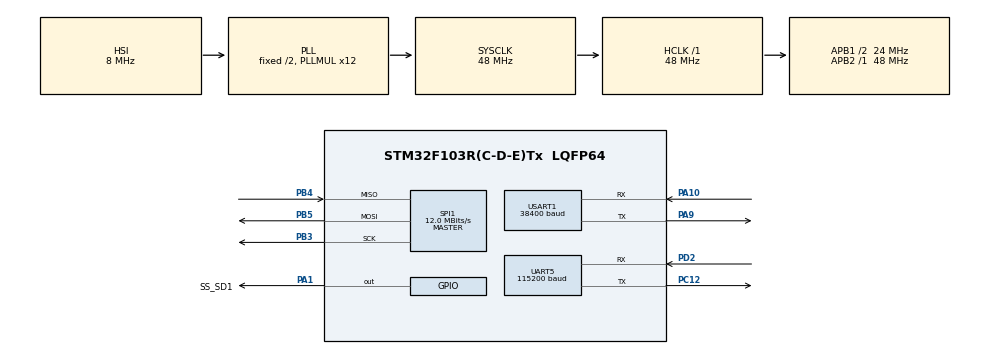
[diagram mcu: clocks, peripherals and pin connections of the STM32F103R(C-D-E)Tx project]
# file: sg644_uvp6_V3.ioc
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Dma.Request0=SPI1_RX
Dma.Request1=SPI1_TX
Dma.SPI1_RX.0.Direction=DMA_PERIPH_TO_MEMORY
Dma.SPI1_RX.0.Instance=DMA1_Channel2
Dma.SPI1_RX.0.MemDataAlignment=DMA_MDATAALIGN_BYTE
Dma.SPI1_RX.0.MemInc=DMA_MINC_ENABLE
Dma.SPI1_RX.0.Mode=DMA_NORMAL
Dma.SPI1_RX.0.PeriphDataAlignment=DMA_PDATAALIGN_BYTE
Dma.SPI1_RX.0.PeriphInc=DMA_PINC_DISABLE
Dma.SPI1_RX.0.Priority=DMA_PRIORITY_MEDIUM
Dma.SPI1_TX.1.Direction=DMA_MEMORY_TO_PERIPH
Dma.SPI1_TX.1.Instance=DMA1_Channel3
Dma.SPI1_TX.1.MemDataAlignment=DMA_MDATAALIGN_BYTE
Dma.SPI1_TX.1.MemInc=DMA_MINC_ENABLE
Dma.SPI1_TX.1.Mode=DMA_NORMAL
Dma.SPI1_TX.1.PeriphDataAlignment=DMA_PDATAALIGN_BYTE
Dma.SPI1_TX.1.PeriphInc=DMA_PINC_DISABLE
Dma.SPI1_TX.1.Priority=DMA_PRIORITY_MEDIUM
FREERTOS.BinarySemaphores01=seaglider_uart_q_sem,Dynamic,NULL;uvp6_uart_q_sem,Dynamic,NULL;seaglider_uart_media_sem,Dynamic,NULL;uvp6_uart_media_sem,Dynamic,NULL;microSD_sem,Dynamic,NULL
FREERTOS.Queues01=worker_cmd_q,16,uint32_t,0,Dynamic,NULL,NULL;events_q,16,uint32_t,0,Dynamic,NULL,NULL
FREERTOS.Tasks01=defaultTask,0,1024,StartDefaultTask,Default,NULL,Dynamic,NULL,NULL;glider_uart_tx_,0,256,glider_uart_tx_f,Default,NULL,Dynamic,NULL,NULL;worker1_t,0,768,worker_f,Default,NULL,Dynamic,NULL,NULL;worker2_t,0,768,worker_f,Default,NULL,Dynamic,NULL,NULL;worker3_t,0,768,worker_f,Default,NULL,Dynamic,NULL,NULL;worker4_t,0,768,worker_f,Default,NULL,Dynamic,NULL,NULL;sensor_uart_tx_,0,256,sensor_uart_tx_f,Default,NULL,Dynamic,NULL,NULL;worker5_t,0,768,worker_f,Default,NULL,Dynamic,NULL,NULL;worker6_t,0,768,worker_f,Default,NULL,Dynamic,NULL,NULL
FREERTOS.configTOTAL_HEAP_SIZE=40000
FREERTOS.configUSE_NEWLIB_REENTRANT=1
FREERTOS.configUSE_TIMERS=1
Mcu.Family=STM32F1
Mcu.Name=STM32F103R(C-D-E)Tx
Mcu.Package=LQFP64
NVIC.DMA1_Channel2_IRQn=true\:5\:0\:false\:false\:true\:true\:false\:true\:true
NVIC.DMA1_Channel3_IRQn=true\:5\:0\:false\:false\:true\:true\:false\:true\:true
NVIC.PriorityGroup=NVIC_PRIORITYGROUP_4
NVIC.SPI1_IRQn=true\:5\:0\:false\:false\:true\:true\:true\:true\:true
NVIC.TIM1_UP_IRQn=true\:15\:0\:false\:false\:true\:false\:false\:true\:true
NVIC.TimeBase=TIM1_UP_IRQn
NVIC.TimeBaseIP=TIM1
NVIC.UART5_IRQn=true\:5\:0\:false\:false\:true\:true\:true\:true\:true
NVIC.USART1_IRQn=true\:5\:0\:false\:false\:true\:true\:true\:true\:true
PA1.GPIO_Label=SS_SD1
PA1.GPIO_Speed=GPIO_SPEED_FREQ_HIGH
PA1.PinState=GPIO_PIN_SET
PA1.Signal=GPIO_Output
PA10.Mode=Asynchronous
PA10.Signal=USART1_RX
PA13.Mode=Serial_Wire
PA13.Signal=SYS_JTMS-SWDIO
PA14.Mode=Serial_Wire
PA14.Signal=SYS_JTCK-SWCLK
PA9.Mode=Asynchronous
PA9.Signal=USART1_TX
PB3.Mode=Full_Duplex_Master
PB3.Signal=SPI1_SCK
PB4.Mode=Full_Duplex_Master
PB4.Signal=SPI1_MISO
PB5.Mode=Full_Duplex_Master
PB5.Signal=SPI1_MOSI
PC12.Mode=Asynchronous
PC12.Signal=UART5_TX
PD0-OSC_IN.Mode=HSE-External-Oscillator
PD0-OSC_IN.Signal=RCC_OSC_IN
PD1-OSC_OUT.Mode=HSE-External-Oscillator
PD1-OSC_OUT.Signal=RCC_OSC_OUT
PD2.Mode=Asynchronous
PD2.Signal=UART5_RX
ProjectManager.HeapSize=0x200
ProjectManager.StackSize=0x400
ProjectManager.TargetToolchain=STM32CubeIDE
RCC.AHBFreq_Value=48000000
RCC.APB1CLKDivider=RCC_HCLK_DIV2
RCC.APB1Freq_Value=24000000
RCC.APB1TimFreq_Value=48000000
RCC.APB2Freq_Value=48000000
RCC.APB2TimFreq_Value=48000000
RCC.HCLKFreq_Value=48000000
RCC.HSE_VALUE=10000000
RCC.PLLMUL=RCC_PLL_MUL12
RCC.SYSCLKFreq_VALUE=48000000
RCC.SYSCLKSource=RCC_SYSCLKSOURCE_PLLCLK
RCC.USBFreq_Value=48000000
SPI1.BaudRatePrescaler=SPI_BAUDRATEPRESCALER_4
SPI1.CalculateBaudRate=12.0 MBits/s
SPI1.Direction=SPI_DIRECTION_2LINES
SPI1.Mode=SPI_MODE_MASTER
SPI1.VirtualType=VM_MASTER
UART5.BaudRate=115200
UART5.VirtualMode=Asynchronous
USART1.BaudRate=38400
USART1.VirtualMode=VM_ASYNC
VP_FREERTOS_VS_CMSIS_V1.Mode=CMSIS_V1
VP_SYS_VS_tim1.Mode=TIM1
board=custom

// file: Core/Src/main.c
/* USER CODE BEGIN Header */
/**
  ******************************************************************************
  * @file           : main.c
  * @brief          : Main program body
  ******************************************************************************
  * @attention
  *
  * <h2><center>&copy; Copyright (c) 2022 STMicroelectronics.
  * All rights reserved.</center></h2>
  *
  * This software component is licensed by ST under Ultimate Liberty license
  * SLA0044, the "License"; You may not use this file except in compliance with
  * the License. You may obtain a copy of the License at:
  *                             www.st.com/SLA0044
  *
  ******************************************************************************
  */
/* USER CODE END Header */
#include "main.h"
#include "cmsis_os.h"

/* USER CODE BEGIN Includes */
#include "seaglider.h"
#include "UVP6.h"
#include "string.h"
#include "em_sd_storage.h"
#include "stdio.h"
#include "settings.h"
#include "disp_proc.h"
/* USER CODE END Includes */

/* USER CODE BEGIN PD */

#define  SENSOR_UART               huart1
#define  GLIDER_UART               huart5

#define TX_BUFF_SIZE             150

//#define DEBUG_MSG

/* USER CODE END PD */

SPI_HandleTypeDef hspi1;
DMA_HandleTypeDef hdma_spi1_rx;
DMA_HandleTypeDef hdma_spi1_tx;

UART_HandleTypeDef huart5;
UART_HandleTypeDef huart1;

osThreadId defaultTaskHandle;
osThreadId glider_uart_tx_Handle;
osThreadId worker1_tHandle;
osThreadId worker2_tHandle;
osThreadId worker3_tHandle;
osThreadId worker4_tHandle;
osThreadId sensor_uart_tx_Handle;
osThreadId worker5_tHandle;
osThreadId worker6_tHandle;
osMessageQId worker_cmd_qHandle;
osMessageQId events_qHandle;
osSemaphoreId seaglider_uart_q_semHandle;
osSemaphoreId uvp6_uart_q_semHandle;
osSemaphoreId seaglider_uart_media_semHandle;
osSemaphoreId uvp6_uart_media_semHandle;
osSemaphoreId microSD_semHandle;
/* USER CODE BEGIN PV */

seaglider glider1;
uvp6 uvp6_sensor1;
sd_storage_t microsd_storage;
extern settings_str run_cfg;
proc_dispatcher dispatcher1;

uint32_t tick1,tick2;

/* USER CODE END PV */

void SystemClock_Config(void);
static void MX_GPIO_Init(void);
static void MX_DMA_Init(void);
static void MX_SPI1_Init(void);
static void MX_UART5_Init(void);
static void MX_USART1_UART_Init(void);
void StartDefaultTask(void const * argument);
void glider_uart_tx_f(void const * argument);
void worker_f(void const * argument);
void sensor_uart_tx_f(void const * argument);

int main(void)
{

  /* MCU Configuration--------------------------------------------------------*/

  /* Reset of all peripherals, Initializes the Flash interface and the Systick. */
  HAL_Init();

  /* Configure the system clock */
  SystemClock_Config();

  /* Initialize all configured peripherals */
  MX_GPIO_Init();
  MX_DMA_Init();
  MX_SPI1_Init();
  MX_UART5_Init();
  MX_USART1_UART_Init();

  /* Create the semaphores(s) */
  /* definition and creation of seaglider_uart_q_sem */
  osSemaphoreDef(seaglider_uart_q_sem);
  seaglider_uart_q_semHandle = osSemaphoreCreate(osSemaphore(seaglider_uart_q_sem), 1);

  /* definition and creation of uvp6_uart_q_sem */
  osSemaphoreDef(uvp6_uart_q_sem);
  uvp6_uart_q_semHandle = osSemaphoreCreate(osSemaphore(uvp6_uart_q_sem), 1);

  /* definition and creation of seaglider_uart_media_sem */
  osSemaphoreDef(seaglider_uart_media_sem);
  seaglider_uart_media_semHandle = osSemaphoreCreate(osSemaphore(seaglider_uart_media_sem), 1);

  /* definition and creation of uvp6_uart_media_sem */
  osSemaphoreDef(uvp6_uart_media_sem);
  uvp6_uart_media_semHandle = osSemaphoreCreate(osSemaphore(uvp6_uart_media_sem), 1);

  /* definition and creation of microSD_sem */
  osSemaphoreDef(microSD_sem);
  microSD_semHandle = osSemaphoreCreate(osSemaphore(microSD_sem), 1);

  /* Create the queue(s) */
  /* definition and creation of worker_cmd_q */
  osMessageQDef(worker_cmd_q, 16, uint32_t);
  worker_cmd_qHandle = osMessageCreate(osMessageQ(worker_cmd_q), NULL);

  /* definition and creation of events_q */
  osMessageQDef(events_q, 16, uint32_t);
  events_qHandle = osMessageCreate(osMessageQ(events_q), NULL);

  /* Create the thread(s) */
  /* definition and creation of defaultTask */
  osThreadDef(defaultTask, StartDefaultTask, osPriorityNormal, 0, 1024);
  defaultTaskHandle = osThreadCreate(osThread(defaultTask), NULL);

  /* definition and creation of glider_uart_tx_ */
  osThreadDef(glider_uart_tx_, glider_uart_tx_f, osPriorityNormal, 0, 256);
  glider_uart_tx_Handle = osThreadCreate(osThread(glider_uart_tx_), NULL);

  /* definition and creation of worker1_t */
  osThreadDef(worker1_t, worker_f, osPriorityNormal, 0, 768);
  worker1_tHandle = osThreadCreate(osThread(worker1_t), NULL);

  /* definition and creation of worker2_t */
  osThreadDef(worker2_t, worker_f, osPriorityNormal, 0, 768);
  worker2_tHandle = osThreadCreate(osThread(worker2_t), NULL);

  /* definition and creation of worker3_t */
  osThreadDef(worker3_t, worker_f, osPriorityNormal, 0, 768);
  worker3_tHandle = osThreadCreate(osThread(worker3_t), NULL);

  /* definition and creation of worker4_t */
  osThreadDef(worker4_t, worker_f, osPriorityNormal, 0, 768);
  worker4_tHandle = osThreadCreate(osThread(worker4_t), NULL);

  /* definition and creation of sensor_uart_tx_ */
  osThreadDef(sensor_uart_tx_, sensor_uart_tx_f, osPriorityNormal, 0, 256);
  sensor_uart_tx_Handle = osThreadCreate(osThread(sensor_uart_tx_), NULL);

  /* definition and creation of worker5_t */
  osThreadDef(worker5_t, worker_f, osPriorityNormal, 0, 768);
  worker5_tHandle = osThreadCreate(osThread(worker5_t), NULL);

  /* definition and creation of worker6_t */
  osThreadDef(worker6_t, worker_f, osPriorityNormal, 0, 768);
  worker6_tHandle = osThreadCreate(osThread(worker6_t), NULL);

  /* Start scheduler */
  osKernelStart();
  /* We should never get here as control is now taken by the scheduler */
  /* Infinite loop */
  while (1)
  {

  }
}

void SystemClock_Config(void)
{
  RCC_OscInitTypeDef RCC_OscInitStruct = {0};
  RCC_ClkInitTypeDef RCC_ClkInitStruct = {0};

  /** Initializes the RCC Oscillators according to the specified parameters
  * in the RCC_OscInitTypeDef structure.
  */
  RCC_OscInitStruct.OscillatorType = RCC_OSCILLATORTYPE_HSI;
  RCC_OscInitStruct.HSIState = RCC_HSI_ON;
  RCC_OscInitStruct.HSICalibrationValue = RCC_HSICALIBRATION_DEFAULT;
  RCC_OscInitStruct.PLL.PLLState = RCC_PLL_ON;
  RCC_OscInitStruct.PLL.PLLSource = RCC_PLLSOURCE_HSI_DIV2;
  RCC_OscInitStruct.PLL.PLLMUL = RCC_PLL_MUL12;
  if (HAL_RCC_OscConfig(&RCC_OscInitStruct) != HAL_OK)
  {
    Error_Handler();
  }

  /** Initializes the CPU, AHB and APB buses clocks
  */
  RCC_ClkInitStruct.ClockType = RCC_CLOCKTYPE_HCLK|RCC_CLOCKTYPE_SYSCLK
                              |RCC_CLOCKTYPE_PCLK1|RCC_CLOCKTYPE_PCLK2;
  RCC_ClkInitStruct.SYSCLKSource = RCC_SYSCLKSOURCE_PLLCLK;
  RCC_ClkInitStruct.AHBCLKDivider = RCC_SYSCLK_DIV1;
  RCC_ClkInitStruct.APB1CLKDivider = RCC_HCLK_DIV2;
  RCC_ClkInitStruct.APB2CLKDivider = RCC_HCLK_DIV1;

  if (HAL_RCC_ClockConfig(&RCC_ClkInitStruct, FLASH_LATENCY_1) != HAL_OK)
  {
    Error_Handler();
  }
}

static void MX_SPI1_Init(void)
{

  /* SPI1 parameter configuration*/
  hspi1.Instance = SPI1;
  hspi1.Init.Mode = SPI_MODE_MASTER;
  hspi1.Init.Direction = SPI_DIRECTION_2LINES;
  hspi1.Init.DataSize = SPI_DATASIZE_8BIT;
  hspi1.Init.CLKPolarity = SPI_POLARITY_LOW;
  hspi1.Init.CLKPhase = SPI_PHASE_1EDGE;
  hspi1.Init.NSS = SPI_NSS_SOFT;
  hspi1.Init.BaudRatePrescaler = SPI_BAUDRATEPRESCALER_4;
  hspi1.Init.FirstBit = SPI_FIRSTBIT_MSB;
  hspi1.Init.TIMode = SPI_TIMODE_DISABLE;
  hspi1.Init.CRCCalculation = SPI_CRCCALCULATION_DISABLE;
  hspi1.Init.CRCPolynomial = 10;
  if (HAL_SPI_Init(&hspi1) != HAL_OK)
  {
    Error_Handler();
  }

}

static void MX_UART5_Init(void)
{

  huart5.Instance = UART5;
  huart5.Init.BaudRate = 115200;
  huart5.Init.WordLength = UART_WORDLENGTH_8B;
  huart5.Init.StopBits = UART_STOPBITS_1;
  huart5.Init.Parity = UART_PARITY_NONE;
  huart5.Init.Mode = UART_MODE_TX_RX;
  huart5.Init.HwFlowCtl = UART_HWCONTROL_NONE;
  huart5.Init.OverSampling = UART_OVERSAMPLING_16;
  if (HAL_UART_Init(&huart5) != HAL_OK)
  {
    Error_Handler();
  }

}

static void MX_USART1_UART_Init(void)
{

  huart1.Instance = USART1;
  huart1.Init.BaudRate = 38400;
  huart1.Init.WordLength = UART_WORDLENGTH_8B;
  huart1.Init.StopBits = UART_STOPBITS_1;
  huart1.Init.Parity = UART_PARITY_NONE;
  huart1.Init.Mode = UART_MODE_TX_RX;
  huart1.Init.HwFlowCtl = UART_HWCONTROL_NONE;
  huart1.Init.OverSampling = UART_OVERSAMPLING_16;
  if (HAL_UART_Init(&huart1) != HAL_OK)
  {
    Error_Handler();
  }

}

static void MX_DMA_Init(void)
{

  /* DMA controller clock enable */
  __HAL_RCC_DMA1_CLK_ENABLE();

  /* DMA interrupt init */
  /* DMA1_Channel2_IRQn interrupt configuration */
  HAL_NVIC_SetPriority(DMA1_Channel2_IRQn, 5, 0);
  HAL_NVIC_EnableIRQ(DMA1_Channel2_IRQn);
  /* DMA1_Channel3_IRQn interrupt configuration */
  HAL_NVIC_SetPriority(DMA1_Channel3_IRQn, 5, 0);
  HAL_NVIC_EnableIRQ(DMA1_Channel3_IRQn);

}

static void MX_GPIO_Init(void)
{
  GPIO_InitTypeDef GPIO_InitStruct = {0};

  /* GPIO Ports Clock Enable */
  __HAL_RCC_GPIOD_CLK_ENABLE();
  __HAL_RCC_GPIOA_CLK_ENABLE();
  __HAL_RCC_GPIOC_CLK_ENABLE();
  __HAL_RCC_GPIOB_CLK_ENABLE();

  /*Configure GPIO pin Output Level */
  HAL_GPIO_WritePin(SS_SD1_GPIO_Port, SS_SD1_Pin, GPIO_PIN_SET);

  /*Configure GPIO pin : SS_SD1_Pin */
  GPIO_InitStruct.Pin = SS_SD1_Pin;
  GPIO_InitStruct.Mode = GPIO_MODE_OUTPUT_PP;
  GPIO_InitStruct.Pull = GPIO_NOPULL;
  GPIO_InitStruct.Speed = GPIO_SPEED_FREQ_HIGH;
  HAL_GPIO_Init(SS_SD1_GPIO_Port, &GPIO_InitStruct);

}

/* USER CODE BEGIN 4 */
uint8_t tmp1;
uint8_t tmp2;

void HAL_UART_RxCpltCallback(UART_HandleTypeDef *huart)
{
 if(huart==&SENSOR_UART)
 {
	 uvp6_media_process_byte(&uvp6_sensor1,uvp6_sensor1.media_rx_byte);
	 HAL_UART_Receive_IT(&SENSOR_UART,&(uvp6_sensor1.media_rx_byte),1);
 }
 else if(huart==&GLIDER_UART)
 {
	 seaglider_media_process_byte(&glider1,glider1.media_rx_byte);
	 HAL_UART_Receive_IT(&GLIDER_UART,&(glider1.media_rx_byte),1);
 }
}

void HAL_UART_TxCpltCallback(UART_HandleTypeDef *huart)
{

 if(huart==&SENSOR_UART)
 {
	 if(uvp6_media_get_byte(&uvp6_sensor1,&tmp2)==UVP6_F_OK)
	 {
	    HAL_UART_Transmit_IT(&SENSOR_UART,&tmp2,1);
	 }
	 else osSemaphoreRelease(uvp6_uart_media_semHandle);
 }
 else if(huart==&GLIDER_UART)
 {
	 if(seaglider_media_get_byte(&glider1,&tmp1)==SEAGLIDER_F_OK)
	 {
	    HAL_UART_Transmit_IT(&GLIDER_UART,&tmp1,1);
	 }
	 else osSemaphoreRelease(seaglider_uart_media_semHandle);
 }
}
#ifdef DEBUG_MSG
void vApplicationStackOverflowHook( TaskHandle_t xTask,signed char *pcTaskName )
{
	char tt[40];
    sprintf(tt,"Stack ovrfl:%s\n",pcTaskName);
	HAL_UART_Transmit(&GLIDER_UART,tt,strlen(tt),100);
}
#endif

/* USER CODE END 4 */

void StartDefaultTask(void const * argument)
{
  /* USER CODE BEGIN 5 */
  /* Infinite loop */

  seaglider_init(&glider1,events_qHandle,seaglider_uart_q_semHandle);
  HAL_UART_Receive_IT(&GLIDER_UART,&(glider1.media_rx_byte),1);

  uvp6_init(&uvp6_sensor1,events_qHandle);
  HAL_UART_Receive_IT(&SENSOR_UART,&(uvp6_sensor1.media_rx_byte),1);

  disp_proc_init(&dispatcher1,worker_cmd_qHandle,events_qHandle);
  disp_proc_loop(&dispatcher1);

  /* USER CODE END 5 */
}

void glider_uart_tx_f(void const * argument)
{
  /* USER CODE BEGIN glider_uart_tx_f */
  /* Infinite loop */
  uint8_t tmp1;
  glider1.media_status=SEAGLIDER_MEDIA_READY;
#ifdef DEBUG_MSG
  HAL_UART_Transmit_IT(&GLIDER_UART,"G",1);
#endif
  for(;;)
  {
	osSemaphoreWait(seaglider_uart_media_semHandle,osWaitForever);
	if(seaglider_media_get_byte(&glider1,&tmp1)==SEAGLIDER_F_OK) HAL_UART_Transmit_IT(&GLIDER_UART,&tmp1,1);
	else osSemaphoreRelease(seaglider_uart_media_semHandle);
	osDelay(1);
  }
  /* USER CODE END glider_uart_tx_f */
}

void worker_f(void const * argument)
{
  /* USER CODE BEGIN worker_f */
  /* Infinite loop */
  for(;;)
  {
		osEvent res=osMessageGet(worker_cmd_qHandle,osWaitForever);
		if(res.status==osEventMessage){
			disp_proc_execute(&dispatcher1,res.value.v);
		}
  }
  /* USER CODE END worker_f */
}

void sensor_uart_tx_f(void const * argument)
{
  /* USER CODE BEGIN sensor_uart_tx_f */
  /* Infinite loop */
  uint8_t tmp2;
  uvp6_sensor1.media_status=UVP6_MEDIA_READY;
  #ifdef DEBUG_MSG
	HAL_UART_Transmit(&UVP6_UART,"U",1,100);
	HAL_UART_Transmit(&GLIDER_UART,"G",1,100);
  #endif

  for(;;)
  {
	   if(SENSOR_UART.gState!=HAL_UART_STATE_BUSY_TX)
	   {
		if(uvp6_media_get_byte(&uvp6_sensor1,&tmp2)==UVP6_F_OK)
		{
		   HAL_UART_Transmit_IT(&SENSOR_UART,&tmp2,1);
		}
	   }
	osDelay(1);
  }
  /* USER CODE END sensor_uart_tx_f */
}

void HAL_TIM_PeriodElapsedCallback(TIM_HandleTypeDef *htim)
{
  if (htim->Instance == TIM1) {
    HAL_IncTick();
  }
}

void Error_Handler(void)
{
  /* USER CODE BEGIN Error_Handler_Debug */
  /* User can add his own implementation to report the HAL error return state */
  __disable_irq();
  HAL_UART_Transmit(&GLIDER_UART, "HW err", 6, 100);
  while (1)
  {

  }
  /* USER CODE END Error_Handler_Debug */
}

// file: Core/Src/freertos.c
/* USER CODE BEGIN Header */
/**
  ******************************************************************************
  * File Name          : freertos.c
  * Description        : Code for freertos applications
  ******************************************************************************
  * @attention
  *
  * Copyright (c) 2023 STMicroelectronics.
  * All rights reserved.
  *
  * This software is licensed under terms that can be found in the LICENSE file
  * in the root directory of this software component.
  * If no LICENSE file comes with this software, it is provided AS-IS.
  *
  ******************************************************************************
  */
/* USER CODE END Header */

#include "FreeRTOS.h"
#include "task.h"
#include "main.h"

/* GetIdleTaskMemory prototype (linked to static allocation support) */
void vApplicationGetIdleTaskMemory( StaticTask_t **ppxIdleTaskTCBBuffer, StackType_t **ppxIdleTaskStackBuffer, uint32_t *pulIdleTaskStackSize );

/* GetTimerTaskMemory prototype (linked to static allocation support) */
void vApplicationGetTimerTaskMemory( StaticTask_t **ppxTimerTaskTCBBuffer, StackType_t **ppxTimerTaskStackBuffer, uint32_t *pulTimerTaskStackSize );

/* USER CODE BEGIN GET_IDLE_TASK_MEMORY */
static StaticTask_t xIdleTaskTCBBuffer;
static StackType_t xIdleStack[configMINIMAL_STACK_SIZE];

void vApplicationGetIdleTaskMemory( StaticTask_t **ppxIdleTaskTCBBuffer, StackType_t **ppxIdleTaskStackBuffer, uint32_t *pulIdleTaskStackSize )
{
  *ppxIdleTaskTCBBuffer = &xIdleTaskTCBBuffer;
  *ppxIdleTaskStackBuffer = &xIdleStack[0];
  *pulIdleTaskStackSize = configMINIMAL_STACK_SIZE;
  /* place for user code */
}
/* USER CODE END GET_IDLE_TASK_MEMORY */

/* USER CODE BEGIN GET_TIMER_TASK_MEMORY */
static StaticTask_t xTimerTaskTCBBuffer;
static StackType_t xTimerStack[configTIMER_TASK_STACK_DEPTH];

void vApplicationGetTimerTaskMemory( StaticTask_t **ppxTimerTaskTCBBuffer, StackType_t **ppxTimerTaskStackBuffer, uint32_t *pulTimerTaskStackSize )
{
  *ppxTimerTaskTCBBuffer = &xTimerTaskTCBBuffer;
  *ppxTimerTaskStackBuffer = &xTimerStack[0];
  *pulTimerTaskStackSize = configTIMER_TASK_STACK_DEPTH;
  /* place for user code */
}
/* USER CODE END GET_TIMER_TASK_MEMORY */
